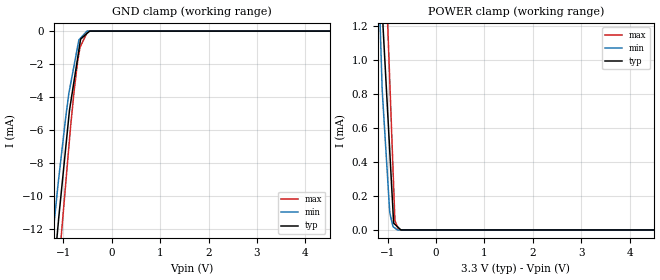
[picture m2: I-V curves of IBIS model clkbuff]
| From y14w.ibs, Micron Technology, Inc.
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|   clkbuff MODEL
[Model]   clkbuff
Model_type   Input
Vinl = 800.000mV
Vinh = 2.000V
|   typ   min   max
C_comp   2.450pF   2.200pF   2.700pF
[Voltage Range]   3.300V   3.000V   3.600V
| Junction Temperature (Ambient temp is 25C typ, 70C min, 0C max)
[Temperature Range]   40.0   85.0   0.0
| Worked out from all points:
|   GND clamp passes 1 mA (typ) near -0.67 V on its own axis
|   POWER clamp passes 1 mA (typ) near -1.06 V on its own axis
[GND Clamp]
|   Voltage   I(typ)   I(min)   I(max)
-3.3V     -821.8mA   -845.7mA   -794.7mA
-1.23V    -15.6mA    -12.66mA   -19.13mA
-1.115V   -11.86mA   -9.355mA   -14.86mA
-1.085V   -10.93mA   -8.579mA   -13.75mA
-955mV    -7.105mA   -5.246mA   -9.276mA
-875mV    -4.774mA   -3.551mA   -6.53mA
-775mV    -2.898mA   -1.987mA   -3.489mA
-710mV    -1.678mA   -970.4uA   -1.903mA
-680mV    -1.115mA   -531.5uA   -1.356mA
-645mV    -485.8uA   -418uA     -903.9uA
-515mV    -142.8uA   0A         -101.7uA
6.6V      0A         0A         0A
[POWER Clamp]
|   Voltage   I(typ)   I(min)   I(max)
-3.3V     43.46mA    37.54mA    49.7mA
-1.23V    2.779mA    1.881mA    4.187mA
-1.115V   1.411mA    837.4uA    2.369mA
-1.095V   1.192mA    738.1uA    2.053mA
-1.08V    1.112mA    668.8uA    1.831mA
-960mV    478.9uA    115uA      901.1uA
-880mV    56.61uA    17.78uA    281.4uA
-875mV    39.76uA    16.7uA     242.7uA
-850mV    33.08uA    11.28uA    55.24uA
-775mV    13.06uA    0A         0A
-725mV    0A         0A         0A
6.6V      0A         0A         0A
